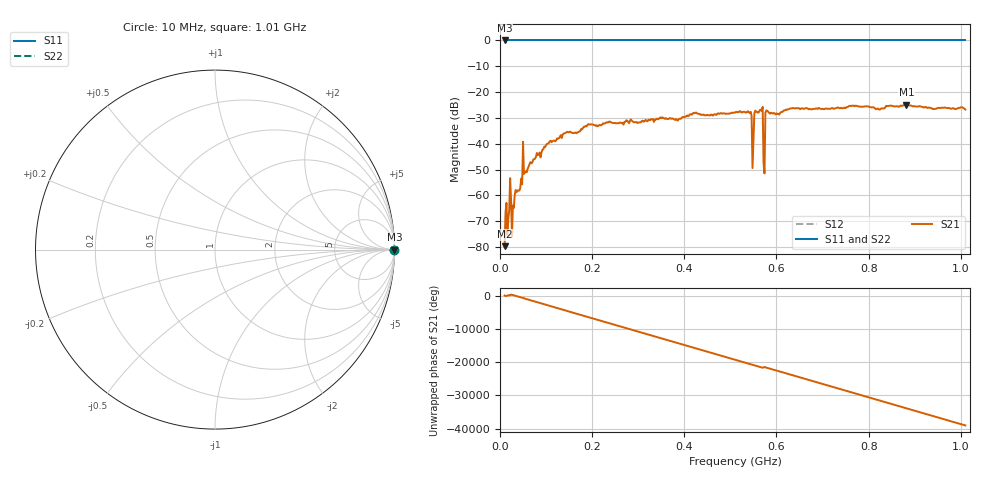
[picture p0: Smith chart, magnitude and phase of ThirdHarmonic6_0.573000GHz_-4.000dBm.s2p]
! 8/15/2025 6:25:14 PM
! C:\ANRITSUVNA\TEMP\TEMP.S2P
! CHANNEL.1
! TR.MEASUREMENT
! RAW.DATA
! RF.CORRECTION.OFF
! AVERAGING.OFF
! IF.BANDWIDTH: 5KHZ
! SWEEPTYPE:  FREQ.SWEEP(Linear)
! Reference Plane Port Info
! PORT:  PORT1  PORT2
! DISTANCE:  0  m  0  m
! TIME:  0  s  0  s
! PHASE.OFFSET:  0  deg.  0  deg.
! LOSS:  0  dB  0  dB
! REF.LOSS:  0  dB  0  dB
! REF.FREQ:  0  Hz  0  Hz
! Power Info
! POWER:  -20  dBm  -20  dBm
! EFF.POWER:  -20  dBm  -20  dBm
! SOURCE.ATTEN:  0  dB  0  dB
! TEST.ATTEN:  0  dB  0  dB
# GHZ S RI R 50.0
! FREQ.GHZ  S11RE  S11IM  S21RE  S21IM  S12RE  S12IM  S22RE  S22IM
!; PortSelection: Port_12
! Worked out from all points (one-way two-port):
!   501 points, 10 MHz to 1.01 GHz, reference 50 ohm
!   highest |S21| = -24.81 dB at 882 MHz (marker M1); lowest = -79.6 dB at 10 MHz (marker M2)
!   lowest |S11| = 0.0 dB at 10 MHz (marker M3)
!   |S11| at or under -10 dB: nowhere
!   |S22| runs from 0.0 to 0.0 dB; largest |S21 - S12| = 1.1
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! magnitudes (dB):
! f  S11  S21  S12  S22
! 10 MHz  0.0  -79.6  0.0  0.0
! 18 MHz  0.0  -69.0  0.0  0.0
! 30 MHz  0.0  -64.9  0.0  0.0
! 54 MHz  0.0  -51.2  0.0  0.0
! 56 MHz  0.0  -50.7  0.0  0.0
! 106 MHz  0.0  -39.7  0.0  0.0
! 178 MHz  0.0  -34.4  0.0  0.0
! 344 MHz  0.0  -30.5  0.0  0.0
! 510 MHz  0.0  -27.9  0.0  0.0
! 542 MHz  0.0  -28.1  0.0  0.0
! 546 MHz  0.0  -29.2  0.0  0.0
! 548 MHz  0.0  -49.4  0.0  0.0
! 552 MHz  0.0  -28.3  0.0  0.0
! 556 MHz  0.0  -27.6  0.0  0.0
! 566 MHz  0.0  -26.8  0.0  0.0
! 570 MHz  0.0  -25.7  0.0  0.0
! 576 MHz  0.0  -28.1  0.0  0.0
! 580 MHz  0.0  -27.2  0.0  0.0
! 678 MHz  0.0  -26.6  0.0  0.0
! 844 MHz  0.0  -25.3  0.0  0.0
! 882 MHz  0.0  -24.8  0.0  0.0
! 1.01 GHz  0.0  -26.8  0.0  0.0
